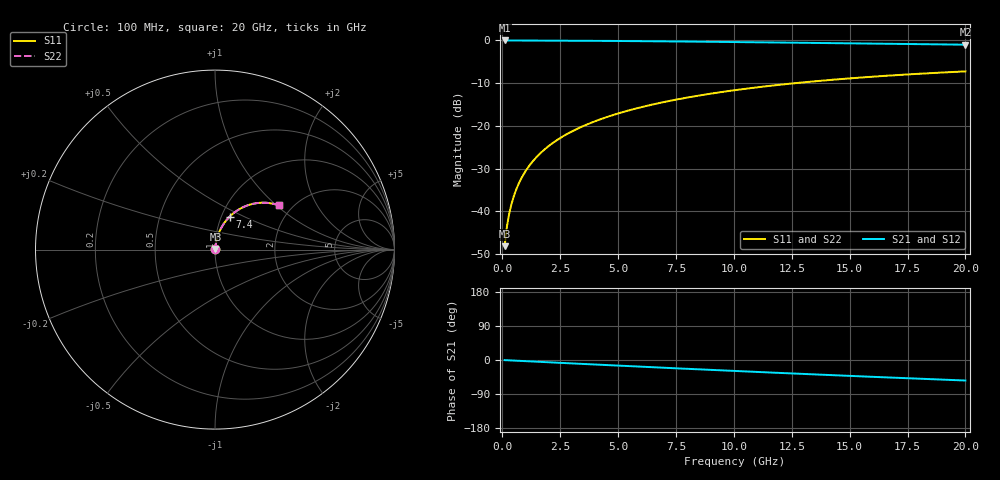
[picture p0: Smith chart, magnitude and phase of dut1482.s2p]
! Touchstone file exported from HFSS 2026.1.0
!  File:  C:/ffzhzh/LocalFiles/Ansys_Project_Files/temp_train_BSMRDL_1482_1783181311_51560.aedt
!  Generated:  12:09:53 AM Jul  5, 2026
!  Design:  BSMRDL
!  Project:  temp_train_BSMRDL_1482_1783181311_51560
! Variables:
!  h_bsmrdl = 5.22um
!  h_ox = 20um
!  h_rdl = 5um
!  h_sub = 80um
!  h_tmrdl = 5um
!  h_tsv = 80um
!  h_via = 3um
!  l_bsmrdl = 843.14um
!  l_sub = 1243.14um
!  l_tmrdl = 200um
!  m_sub = 200um
!  pitch = 58.45um
!  r_tsv = 6um
!  s_tmrdl = 10um
!  w_bsmrdl = 27.8um
!  w_sub = 500um
!  w_tmrdl = 12um
!  x_tsv_center1 = 206um
!  x_tsv_center2 = 1076.94um
!  x_tsv_center3 = 1288.94um
!  x_tsv_center4 = 2159.88um
!  x_tsv_center5 = 2371.88um
!  x_tsv_center6 = 3242.82um
# GHz S MA R 50.000000
! Terminal data exported
! Port[1] = BSM_RDL1_1_T1
! Port[2] = BSM_RDL1_1_T2
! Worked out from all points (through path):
!   200 points, 100 MHz to 20 GHz, reference 50 ohm
!   highest |S21| = -0.02 dB at 100 MHz (marker M1); lowest = -1.0 dB at 20 GHz (marker M2)
!   group delay of S21, straight-line fit = 7.52 ps
!   lowest |S11| = -48.2 dB at 100 MHz (marker M3), VSWR 1.01, Z = 50.2 + j0.318 ohm
!   |S11| at or under -10 dB: start of sweep to 12.67 GHz
!   |S22| runs from -48.2 to -7.3 dB; largest |S21 - S12| = 2.3e-15
!   S11 on the Smith chart (normalised r, x): 100 MHz: 1.00, +0.01; 7.4 GHz: 1.09, +0.42; 20 GHz: 1.72, +1.04
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0.1  0.003912 54.0  0.9977 -0.3  0.9977 -0.3  0.003912 54.0
! Gamma 0 0 0 0
! Port Impedance 50 0 50 0
0.2  0.006661 67.5  0.9975 -0.6  0.9975 -0.6  0.006661 67.5
0.3  0.009458 72.9  0.9973 -0.9  0.9973 -0.9  0.009458 72.9
0.4  0.01227 75.9  0.9972 -1.2  0.9972 -1.2  0.01227 75.9
0.5  0.0151 77.8  0.9971 -1.5  0.9971 -1.5  0.0151 77.8
0.7  0.0208 79.8  0.9969 -2.1  0.9969 -2.1  0.0208 79.8
0.8  0.02367 80.3  0.9968 -2.4  0.9968 -2.4  0.02367 80.3
1  0.0294 80.9  0.9965 -3.0  0.9965 -3.0  0.0294 80.9
1.2  0.03514 81.1  0.9962 -3.6  0.9962 -3.6  0.03514 81.1
1.4  0.04087 81.1  0.9958 -4.2  0.9958 -4.2  0.04087 81.1
1.7  0.04943 80.7  0.9952 -5.1  0.9952 -5.1  0.04943 80.7
2  0.05794 80.2  0.9945 -6.0  0.9945 -6.0  0.05794 80.2
2.7  0.07757 78.6  0.9925 -8.1  0.9925 -8.1  0.07757 78.6
3.5  0.09957 76.6  0.9899 -10.5  0.9899 -10.5  0.09957 76.6
4.2  0.1184 74.7  0.9872 -12.5  0.9872 -12.5  0.1184 74.7
5  0.1396 72.5  0.9838 -14.8  0.9838 -14.8  0.1396 72.6
6.8  0.1854 67.7  0.9751 -19.9  0.9751 -19.9  0.1854 67.7
7.4  0.2001 66.1  0.9719 -21.6  0.9719 -21.6  0.2001 66.1
10.1  0.2627 59.0  0.9559 -29.1  0.9559 -29.1  0.2627 59.0
13.4  0.3303 50.5  0.934 -37.8  0.934 -37.8  0.3303 50.5
16.7  0.3873 42.3  0.9116 -46.2  0.9116 -46.2  0.3873 42.3
20  0.4337 34.5  0.8904 -54.2  0.8904 -54.2  0.4337 34.5
